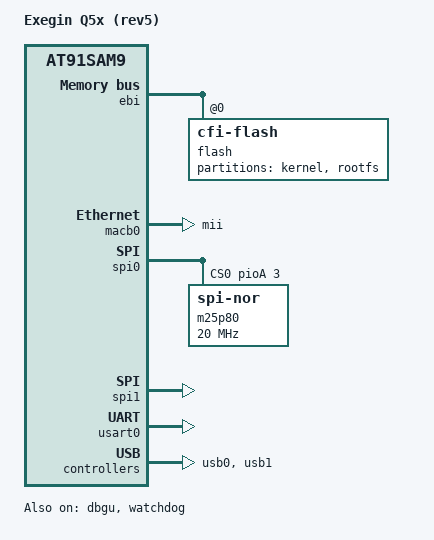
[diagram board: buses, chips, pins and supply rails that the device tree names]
// SPDX-License-Identifier: GPL-2.0-only
/*
 * Device Tree file for Exegin Q5xR5 board
 *
 * Copyright (C) 2014 Owen Kirby <osk@exegin.com>
 */

/dts-v1/;
#include "at91sam9g20.dtsi"

/ {
	model = "Exegin Q5x (rev5)";
	compatible = "exegin,q5xr5", "atmel,at91sam9g20", "atmel,at91sam9";

	chosen {
		bootargs = "console=ttyS0,115200 rootfstype=squashfs,jffs2";
	};

	memory {
		reg = <0x20000000 0x0>;
	};

	clocks {
		#address-cells = <1>;
		#size-cells = <1>;
		ranges;

		main_clock: clock@0 {
			compatible = "atmel,osc", "fixed-clock";
			clock-frequency = <18432000>;
		};

		slow_xtal {
			clock-frequency = <32768>;
		};

		main_xtal {
			clock-frequency = <18432000>;
		};
	};
};

&dbgu {
	status = "okay";
};

&ebi {
	status = "okay";

	flash: flash@0 {
		compatible = "cfi-flash";
		#address-cells = <1>;
		#size-cells = <1>;
		reg = <0x0 0x1000000 0x800000>;
		bank-width = <2>;

		partitions {
			compatible = "fixed-partitions";
			#address-cells = <1>;
			#size-cells = <1>;

			kernel@0 {
				label = "kernel";
				reg = <0x0 0x200000>;
			};

			rootfs@200000 {
				label = "rootfs";
				reg = <0x200000 0x600000>;
			};
		};
	};
};

&macb0 {
	phy-mode = "mii";
	status = "okay";
};

&pinctrl {
	board {
		pinctrl_pck0_as_mck: pck0_as_mck {
			atmel,pins = <AT91_PIOC 1 AT91_PERIPH_B AT91_PINCTRL_NONE>;
		};
	};

	spi0 {
		pinctrl_spi0: spi0-0 {
			atmel,pins =
				<AT91_PIOA 0 AT91_PERIPH_A AT91_PINCTRL_NONE
				 AT91_PIOA 1 AT91_PERIPH_A AT91_PINCTRL_NONE
				 AT91_PIOA 2 AT91_PERIPH_A AT91_PINCTRL_NONE>;
		};

		pinctrl_spi0_npcs0: spi0_npcs0 {
			atmel,pins = <AT91_PIOA 3 AT91_PERIPH_A AT91_PINCTRL_NONE>;
		};

		pinctrl_spi0_npcs1: spi0_npcs1 {
			atmel,pins = <AT91_PIOC 11 AT91_PERIPH_B AT91_PINCTRL_NONE>;
		};
	};

	spi1 {
		pinctrl_spi1: spi1-0 {
			atmel,pins =
				<AT91_PIOB 0 AT91_PERIPH_A AT91_PINCTRL_NONE
				 AT91_PIOB 1 AT91_PERIPH_A AT91_PINCTRL_NONE
				 AT91_PIOB 2 AT91_PERIPH_A AT91_PINCTRL_NONE>;
		};

		pinctrl_spi1_npcs0: spi1_npcs0 {
			atmel,pins = <AT91_PIOB 3 AT91_PERIPH_A AT91_PINCTRL_NONE>;
		};

		pinctrl_spi1_npcs1: spi1_npcs1 {
			atmel,pins = <AT91_PIOC 5 AT91_PERIPH_B AT91_PINCTRL_NONE>;
		};
	};
};

&spi0 {
	pinctrl-names = "default";
	pinctrl-0 = <&pinctrl_spi0 &pinctrl_spi0_npcs0 &pinctrl_spi0_npcs1>;
	cs-gpios = <&pioA 3 GPIO_ACTIVE_HIGH>, <&pioC 11 GPIO_ACTIVE_LOW>, <0>, <0>;
	status = "okay";

	m25p80@0 {
		compatible = "jedec,spi-nor";
		spi-max-frequency = <20000000>;
		reg = <0>;
		#address-cells = <1>;
		#size-cells = <1>;

		at91boot@0 {
			label = "at91boot";
			reg = <0x0 0x4000>;
		};

		uenv@4000 {
			label = "uboot-env";
			reg = <0x4000 0x4000>;
		};

		uboot@8000 {
			label = "uboot";
			reg = <0x8000 0x3E000>;
		};
	};
};

&spi1 {
	pinctrl-names = "default";
	pinctrl-0 = <&pinctrl_spi1 &pinctrl_spi1_npcs0 &pinctrl_spi1_npcs1>;
	cs-gpios = <&pioB 3 GPIO_ACTIVE_HIGH>, <&pioC 5 GPIO_ACTIVE_LOW>, <0>, <0>;
	status = "okay";
};

&usart0 {
	pinctrl-0 =
		<&pinctrl_usart0
		 &pinctrl_usart0_rts
		 &pinctrl_usart0_cts
		 &pinctrl_usart0_dtr_dsr
		 &pinctrl_usart0_dcd
		 &pinctrl_usart0_ri>;
	status = "okay";
};

&usb0 {
	num-ports = <2>;
	status = "okay";
};

&usb1 {
	status = "okay";
};

&watchdog {
	status = "okay";
};
